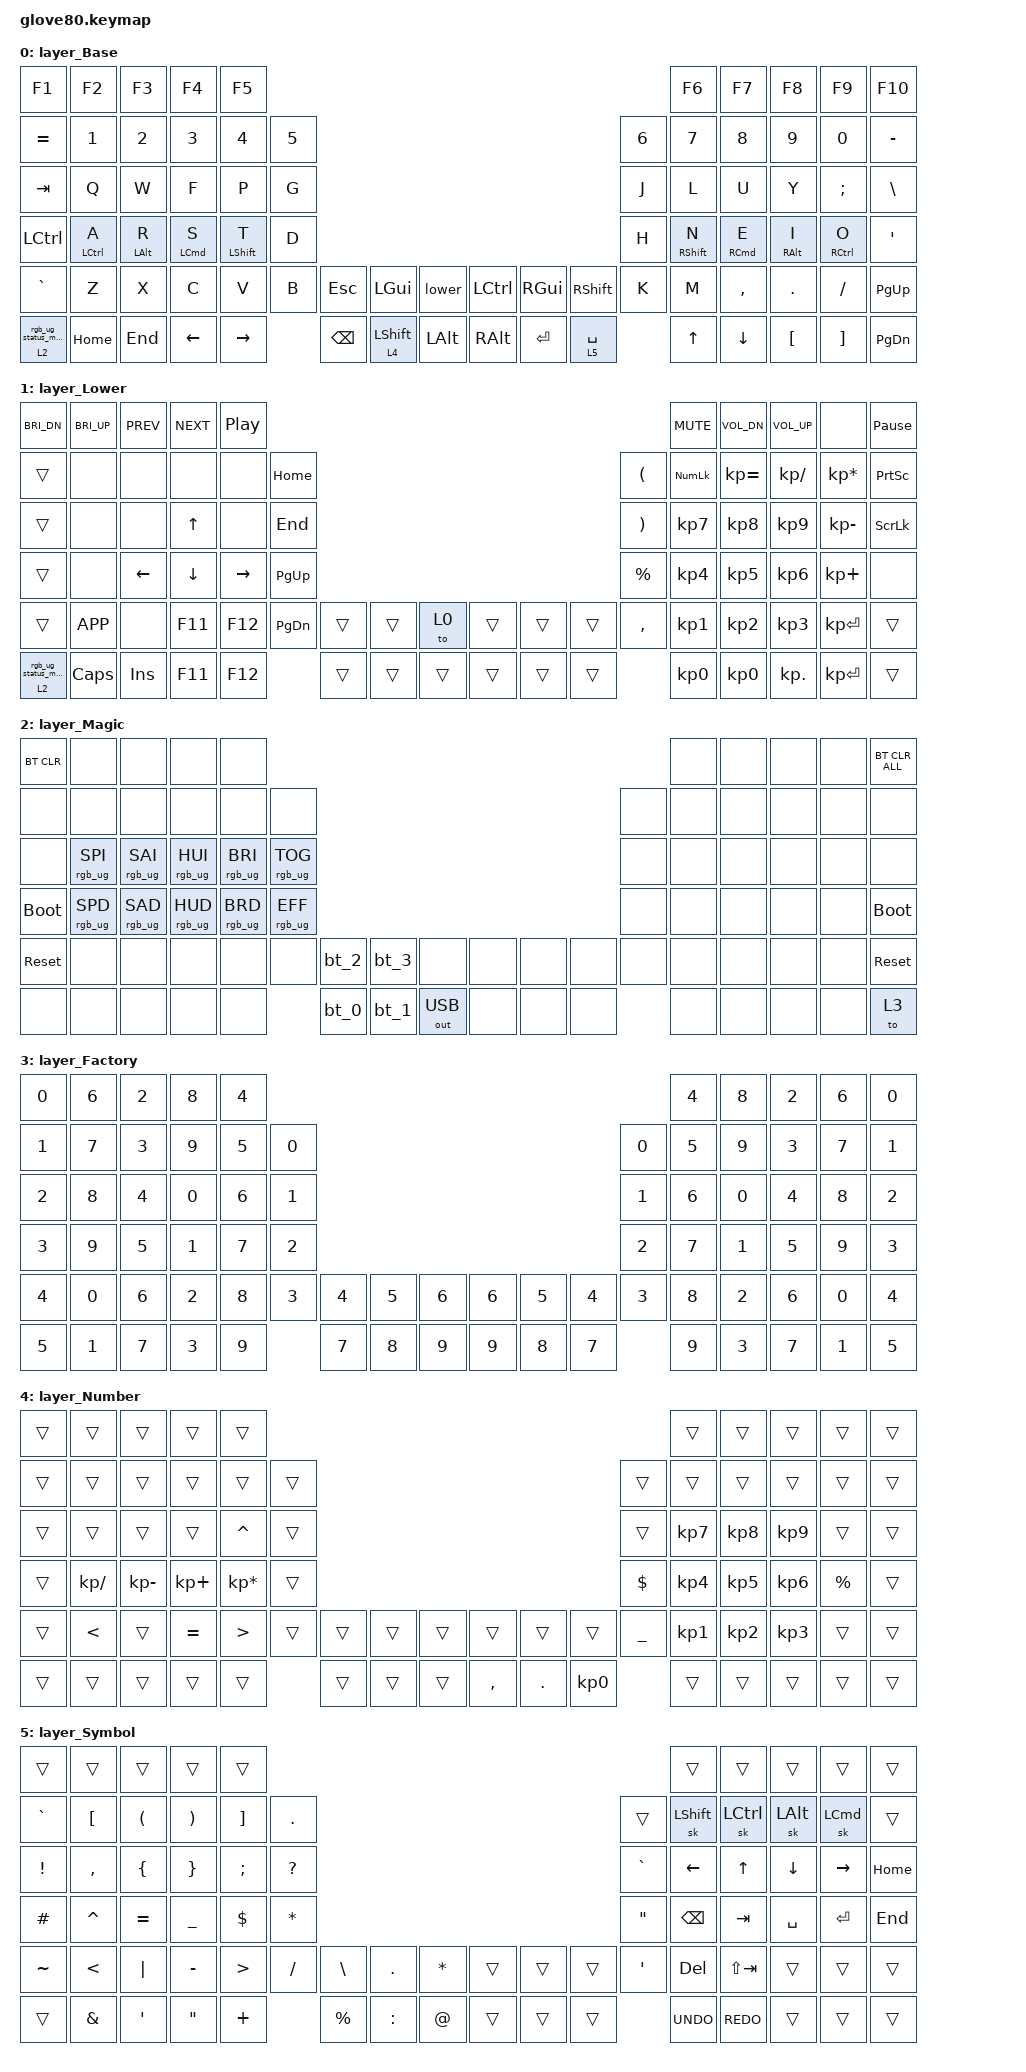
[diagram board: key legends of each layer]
/*
* Copyright (c) 2020 The ZMK Contributors
* Copyright (c) 2025 Innaworks Development Limited, trading as MoErgo
*
* SPDX-License-Identifier: MIT
*/


/* THIS FILE WAS GENERATED BY GLOVE80 LAYOUT EDITOR
*
* This file was generated automatically. You may or may not want to
* edit it directly.
*/

#include <behaviors.dtsi>
/* Include all behavior includes needed */
#include <dt-bindings/zmk/outputs.h>
#include <dt-bindings/zmk/keys.h>
#include <dt-bindings/zmk/bt.h>
#include <dt-bindings/zmk/rgb.h>

/* On demand includes */


/* Helper Macros, based on https://github.com/urob/zmk-helpers/ */

#pragma once

#define ZMK_HELPER_STRINGIFY(x) #x

// Preprocessor mechanism to overload macros, cf. https://stackoverflow.com/a/27051616/6114651
#define VARGS_(_10, _9, _8, _7, _6, _5, _4, _3, _2, _1, N, ...) N
#define VARGS(...) VARGS_(__VA_ARGS__, 10, 9, 8, 7, 6, 5, 4, 3, 2, 1, 0)
#define CONCAT_(a, b) a##b
#define CONCAT(a, b) CONCAT_(a, b)

#define ZMK_BEHAVIOR_CORE_tap_dance  \
compatible = "zmk,behavior-tap-dance"; \
#binding-cells = <0>

#define ZMK_BEHAVIOR(name, type, ...) \
name: name { \
ZMK_BEHAVIOR_CORE_ ## type; \
__VA_ARGS__ \
};

#define ZMK_TAP_DANCE(name, ...) \
ZMK_BEHAVIOR(name, tap_dance, __VA_ARGS__)

#define ZMK_TD_LAYER(name, layer) \
ZMK_TAP_DANCE(name, \
tapping-term-ms = <200>; \
bindings = <&mo layer>, <&to layer>; \
)

/* Automatically generated layer name #define */
#define LAYER_Base 0
#define LAYER_Lower 1
#define LAYER_Magic 2
#define LAYER_Factory 3
#define LAYER_Number 4
#define LAYER_Symbol 5

/* To deal with the situation where there is no Lower layer, to keep &lower happy */
#ifndef LAYER_Lower
#define LAYER_Lower 0
#endif

/* Custom Device-tree */


/* Input Listeners */


/* System behavior and Macros */
/ {

  behaviors {
    ZMK_TD_LAYER(lower, LAYER_Lower)
  };
};

/ {
  macros {
    rgb_ug_status_macro: rgb_ug_status_macro {
      label = "RGB_UG_STATUS";
      compatible = "zmk,behavior-macro";
      #binding-cells = <0>;
      bindings = <&rgb_ug RGB_STATUS>;
    };
  };
};

/ {
  #ifdef BT_DISC_CMD
  behaviors {
    bt_0: bt_0 {
      compatible = "zmk,behavior-tap-dance";
      label = "BT_0";
      #binding-cells = <0>;
      tapping-term-ms = <200>;
      bindings = <&bt_select_0>, <&bt BT_DISC 0>;
    };
    bt_1: bt_1 {
      compatible = "zmk,behavior-tap-dance";
      label = "BT_1";
      #binding-cells = <0>;
      tapping-term-ms = <200>;
      bindings = <&bt_select_1>, <&bt BT_DISC 1>;
    };
    bt_2: bt_2 {
      compatible = "zmk,behavior-tap-dance";
      label = "BT_2";
      #binding-cells = <0>;
      tapping-term-ms = <200>;
      bindings = <&bt_select_2>, <&bt BT_DISC 2>;
    };
    bt_3: bt_3 {
      compatible = "zmk,behavior-tap-dance";
      label = "BT_3";
      #binding-cells = <0>;
      tapping-term-ms = <200>;
      bindings = <&bt_select_3>, <&bt BT_DISC 3>;
    };
  };
  macros {
    bt_select_0: bt_select_0 {
      label = "BT_SELECT_0";
      compatible = "zmk,behavior-macro";
      #binding-cells = <0>;
      bindings = <&out OUT_BLE &bt BT_SEL 0>;
    };
    bt_select_1: bt_select_1 {
      label = "BT_SELECT_1";
      compatible = "zmk,behavior-macro";
      #binding-cells = <0>;
      bindings = <&out OUT_BLE &bt BT_SEL 1>;
    };
    bt_select_2: bt_select_2 {
      label = "BT_SELECT_2";
      compatible = "zmk,behavior-macro";
      #binding-cells = <0>;
      bindings = <&out OUT_BLE &bt BT_SEL 2>;
    };
    bt_select_3: bt_select_3 {
      label = "BT_SELECT_3";
      compatible = "zmk,behavior-macro";
      #binding-cells = <0>;
      bindings = <&out OUT_BLE &bt BT_SEL 3>;
    };
  };
  #else
  macros {
    bt_0: bt_0 {
      label = "BT_0";
      compatible = "zmk,behavior-macro";
      #binding-cells = <0>;
      bindings = <&out OUT_BLE &bt BT_SEL 0>;
    };
    bt_1: bt_1 {
      label = "BT_1";
      compatible = "zmk,behavior-macro";
      #binding-cells = <0>;
      bindings = <&out OUT_BLE &bt BT_SEL 1>;
    };
    bt_2: bt_2 {
      label = "BT_2";
      compatible = "zmk,behavior-macro";
      #binding-cells = <0>;
      bindings = <&out OUT_BLE &bt BT_SEL 2>;
    };
    bt_3: bt_3 {
      label = "BT_3";
      compatible = "zmk,behavior-macro";
      #binding-cells = <0>;
      bindings = <&out OUT_BLE &bt BT_SEL 3>;
    };
  };
  #endif
};

/ {
  behaviors {
    magic: magic {
      compatible = "zmk,behavior-hold-tap";
      label = "MAGIC_HOLD_TAP";
      #binding-cells = <2>;
      flavor = "tap-preferred";
      tapping-term-ms = <200>;
      bindings = <&mo>, <&rgb_ug_status_macro>;
    };
    hml: hml {
      compatible = "zmk,behavior-hold-tap";
      label = "HML";
      bindings = <&kp>, <&kp>;
      #binding-cells = <2>;
      flavor = "balanced";
      tapping-term-ms = <280>;
      quick-tap-ms = <175>;
      require-prior-idle-ms = <150>;
      hold-trigger-on-release;
      hold-trigger-key-positions = <57 56 55 74 73 72 16 28 40 58 5 17 29 41 59 75 6 18 30 42 60 76 7 19 31 43 61 77 8 20 32 44 62 78 9 21 33 45 63 79>;
    };
    hmr: hmr {
      compatible = "zmk,behavior-hold-tap";
      label = "HMR";
      bindings = <&kp>, <&kp>;
      #binding-cells = <2>;
      flavor = "balanced";
      tapping-term-ms = <280>;
      quick-tap-ms = <175>;
      require-prior-idle-ms = <150>;
      hold-trigger-on-release;
      hold-trigger-key-positions = <52 53 54 69 70 71 15 27 39 51 4 14 26 38 50 68 3 13 25 37 49 67 2 12 24 36 48 66 1 11 23 35 47 65 0 10 22 34 46 64>;
    };
  };
};

/* #define for key positions */
#define POS_LH_T1 52
#define POS_LH_T2 53
#define POS_LH_T3 54
#define POS_LH_T4 69
#define POS_LH_T5 70
#define POS_LH_T6 71
#define POS_LH_C1R2 15
#define POS_LH_C1R3 27
#define POS_LH_C1R4 39
#define POS_LH_C1R5 51
#define POS_LH_C2R1 4
#define POS_LH_C2R2 14
#define POS_LH_C2R3 26
#define POS_LH_C2R4 38
#define POS_LH_C2R5 50
#define POS_LH_C2R6 68
#define POS_LH_C3R1 3
#define POS_LH_C3R2 13
#define POS_LH_C3R3 25
#define POS_LH_C3R4 37
#define POS_LH_C3R5 49
#define POS_LH_C3R6 67
#define POS_LH_C4R1 2
#define POS_LH_C4R2 12
#define POS_LH_C4R3 24
#define POS_LH_C4R4 36
#define POS_LH_C4R5 48
#define POS_LH_C4R6 66
#define POS_LH_C5R1 1
#define POS_LH_C5R2 11
#define POS_LH_C5R3 23
#define POS_LH_C5R4 35
#define POS_LH_C5R5 47
#define POS_LH_C5R6 65
#define POS_LH_C6R1 0
#define POS_LH_C6R2 10
#define POS_LH_C6R3 22
#define POS_LH_C6R4 34
#define POS_LH_C6R5 46
#define POS_LH_C6R6 64
#define POS_RH_T1 57
#define POS_RH_T2 56
#define POS_RH_T3 55
#define POS_RH_T4 74
#define POS_RH_T5 73
#define POS_RH_T6 72
#define POS_RH_C1R2 16
#define POS_RH_C1R3 28
#define POS_RH_C1R4 40
#define POS_RH_C1R5 58
#define POS_RH_C2R1 5
#define POS_RH_C2R2 17
#define POS_RH_C2R3 29
#define POS_RH_C2R4 41
#define POS_RH_C2R5 59
#define POS_RH_C2R6 75
#define POS_RH_C3R1 6
#define POS_RH_C3R2 18
#define POS_RH_C3R3 30
#define POS_RH_C3R4 42
#define POS_RH_C3R5 60
#define POS_RH_C3R6 76
#define POS_RH_C4R1 7
#define POS_RH_C4R2 19
#define POS_RH_C4R3 31
#define POS_RH_C4R4 43
#define POS_RH_C4R5 61
#define POS_RH_C4R6 77
#define POS_RH_C5R1 8
#define POS_RH_C5R2 20
#define POS_RH_C5R3 32
#define POS_RH_C5R4 44
#define POS_RH_C5R5 62
#define POS_RH_C5R6 78
#define POS_RH_C6R1 9
#define POS_RH_C6R2 21
#define POS_RH_C6R3 33
#define POS_RH_C6R4 45
#define POS_RH_C6R5 63
#define POS_RH_C6R6 79

/* Custom Defined Behaviors */
/ {

};

/* Automatically generated macro definitions */
/ {
  macros {

  };
};

/* Automatically generated behavior definitions */
/ {
  behaviors {


  };
};

/* Automatically generated combos definitions */


/* Automatically generated keymap */
/ {
  keymap {
    compatible = "zmk,keymap";


    layer_Base {
      bindings = <
//    ┌────────────┬─────────────────────┬─────────────┬─────────────┬─────────────┐                                                                ┌─────────────┬─────────────┬─────────────┬─────────────┬──────┐
//    │     f1     │         f2          │     f3      │     f4      │     f5      │                                                                │     f6      │     f7      │     f8      │     f9      │ f10  │
//    ├────────────┼─────────────────────┼─────────────┼─────────────┼─────────────┼───┐                                                        ┌───┼─────────────┼─────────────┼─────────────┼─────────────┼──────┤
//    │     =      │          1          │      2      │      3      │      4      │ 5 │                                                        │ 6 │      7      │      8      │      9      │      0      │  -   │
//    ├────────────┼─────────────────────┼─────────────┼─────────────┼─────────────┼───┤                                                        ├───┼─────────────┼─────────────┼─────────────┼─────────────┼──────┤
//    │    tab     │          Q          │      W      │      F      │      P      │ G │                                                        │ J │      L      │      U      │      Y      │      ;      │  \   │
//    ├────────────┼─────────────────────┼─────────────┼─────────────┼─────────────┼───┤                                                        ├───┼─────────────┼─────────────┼─────────────┼─────────────┼──────┤
//    │    lctl    │ &hml left_CONTROL A │ &hml lalt R │ &hml lgui S │ &hml lsft T │ D │                                                        │ H │ &hmr rsft N │ &hmr rgui E │ &hmr ralt I │ &hmr rctl O │  '   │
//    ├────────────┼─────────────────────┼─────────────┼─────────────┼─────────────┼───┼──────┬───────────┬────────┐   ┌──────┬──────┬──────────┼───┼─────────────┼─────────────┼─────────────┼─────────────┼──────┤
//    │     `      │          Z          │      X      │      C      │      V      │ B │ esc  │   lgui    │ &lower │   │ lctl │ rgui │   rsft   │ K │      M      │      ,      │      .      │      /      │ pgup │
//    ├────────────┼─────────────────────┼─────────────┼─────────────┼─────────────┼───┼──────┼───────────┼────────┤   ├──────┼──────┼──────────┼───┼─────────────┼─────────────┼─────────────┼─────────────┼──────┤
//    │ &magic 2 0 │        home         │     end     │    left     │    rght     │   │ bspc │ lt 4 lsft │  lalt  │   │ ralt │ ent  │ lt 5 spc │   │     up      │    down     │      [      │      ]      │ pgdn │
//    └────────────┴─────────────────────┴─────────────┴─────────────┴─────────────┘   └──────┴───────────┴────────┘   └──────┴──────┴──────────┘   └─────────────┴─────────────┴─────────────┴─────────────┴──────┘
  &kp F1       &kp F2                &kp F3            &kp F4        &kp F5                                                                                                          &kp F6         &kp F7        &kp F8        &kp F9         &kp F10
  &kp EQUAL    &kp N1                &kp N2            &kp N3        &kp N4         &kp N5                                                                                  &kp N6   &kp N7         &kp N8        &kp N9        &kp N0         &kp MINUS
  &kp TAB      &kp Q                 &kp W             &kp F         &kp P          &kp G                                                                                   &kp J    &kp L          &kp U         &kp Y         &kp SEMI       &kp BSLH
  &kp LCTRL    &hml LEFT_CONTROL A   &hml LEFT_ALT R   &hml LCMD S   &hml LSHFT T   &kp D                                                                                   &kp H    &hmr RSHFT N   &hmr RCMD E   &hmr RALT I   &hmr RCTRL O   &kp SQT
  &kp GRAVE    &kp Z                 &kp X             &kp C         &kp V          &kp B    &kp ESCAPE   &kp LGUI      &lower         &kp LCTRL   &kp RGUI   &kp RSHFT     &kp K    &kp M          &kp COMMA     &kp DOT       &kp FSLH       &kp PG_UP
  &magic 2 0   &kp HOME              &kp END           &kp LEFT      &kp RIGHT               &kp BSPC     &lt 4 LSHFT   &kp LALT       &kp RALT    &kp RET    &lt 5 SPACE            &kp UP         &kp DOWN      &kp LBKT      &kp RBKT       &kp PG_DN
      >;
    };

    layer_Lower {
      bindings = <
//    ┌────────────┬──────┬──────┬──────┬──────┐                                                   ┌──────┬──────┬──────┬──────┬──────┐
//    │    bri-    │ bri+ │ prev │ next │ play │                                                   │ mute │ vold │ volu │      │ paus │
//    ├────────────┼──────┼──────┼──────┼──────┼──────┐                                        ┌───┼──────┼──────┼──────┼──────┼──────┤
//    │            │      │      │      │      │ home │                                        │ ( │ nlck │ kp_= │ kp_/ │ kp_* │ pscr │
//    ├────────────┼──────┼──────┼──────┼──────┼──────┤                                        ├───┼──────┼──────┼──────┼──────┼──────┤
//    │            │      │      │  up  │      │ end  │                                        │ ) │  7   │  8   │  9   │ kp_- │ slck │
//    ├────────────┼──────┼──────┼──────┼──────┼──────┤                                        ├───┼──────┼──────┼──────┼──────┼──────┤
//    │            │      │ left │ down │ rght │ pgup │                                        │ % │  4   │  5   │  6   │ kp_+ │      │
//    ├────────────┼──────┼──────┼──────┼──────┼──────┼─────┬─────┬──────┐   ┌─────┬─────┬─────┼───┼──────┼──────┼──────┼──────┼──────┤
//    │            │ app  │      │ f11  │ f12  │ pgdn │     │     │ to 0 │   │     │     │     │ , │  1   │  2   │  3   │ ent  │      │
//    ├────────────┼──────┼──────┼──────┼──────┼──────┼─────┼─────┼──────┤   ├─────┼─────┼─────┼───┼──────┼──────┼──────┼──────┼──────┤
//    │ &magic 2 0 │ caps │ ins  │ f11  │ f12  │      │     │     │      │   │     │     │     │   │  0   │  0   │ kp_. │ ent  │      │
//    └────────────┴──────┴──────┴──────┴──────┘      └─────┴─────┴──────┘   └─────┴─────┴─────┘   └──────┴──────┴──────┴──────┴──────┘
  &kp C_BRI_DN   &kp C_BRI_UP   &kp C_PREV       &kp C_NEXT       &kp C_PP                                                                                                        &kp C_MUTE   &kp C_VOL_DN   &kp C_VOL_UP   &none             &kp PAUSE_BREAK
  &trans         &none          &none            &none            &none             &kp HOME                                                              &kp LEFT_PARENTHESIS    &kp KP_NUM   &kp KP_EQUAL   &kp KP_SLASH   &kp KP_MULTIPLY   &kp PRINTSCREEN
  &trans         &none          &none            &kp UP_ARROW     &none             &kp END                                                               &kp RIGHT_PARENTHESIS   &kp KP_N7    &kp KP_N8      &kp KP_N9      &kp KP_MINUS      &kp SCROLLLOCK
  &trans         &none          &kp LEFT_ARROW   &kp DOWN_ARROW   &kp RIGHT_ARROW   &kp PG_UP                                                             &kp PERCENT             &kp KP_N4    &kp KP_N5      &kp KP_N6      &kp KP_PLUS       &none
  &trans         &kp K_APP      &none            &kp F11          &kp F12           &kp PG_DN   &trans   &trans   &to 0        &trans   &trans   &trans   &kp COMMA               &kp KP_N1    &kp KP_N2      &kp KP_N3      &kp KP_ENTER      &trans
  &magic 2 0     &kp CAPS       &kp INS          &kp F11          &kp F12                       &trans   &trans   &trans       &trans   &trans   &trans                           &kp KP_N0    &kp KP_N0      &kp KP_DOT     &kp KP_ENTER      &trans
      >;
    };

    layer_Magic {
      bindings = <
//    ┌────────────┬─────────┬─────────┬─────────┬─────────┐                                                                ┌─────┬─────┬─────┬─────┬────────────┐
//    │   bt_clr   │         │         │         │         │                                                                │     │     │     │     │ bt_clr_ALL │
//    ├────────────┼─────────┼─────────┼─────────┼─────────┼─────────┐                                                ┌─────┼─────┼─────┼─────┼─────┼────────────┤
//    │            │         │         │         │         │         │                                                │     │     │     │     │     │            │
//    ├────────────┼─────────┼─────────┼─────────┼─────────┼─────────┤                                                ├─────┼─────┼─────┼─────┼─────┼────────────┤
//    │            │ ug_ sp+ │ ug_ sa+ │ ug_ hu+ │ ug_ br+ │ ug_ tog │                                                │     │     │     │     │     │            │
//    ├────────────┼─────────┼─────────┼─────────┼─────────┼─────────┤                                                ├─────┼─────┼─────┼─────┼─────┼────────────┤
//    │    boot    │ ug_ sp- │ ug_ sa- │ ug_ hu- │ ug_ br- │ ug_ eff │                                                │     │     │     │     │     │    boot    │
//    ├────────────┼─────────┼─────────┼─────────┼─────────┼─────────┼───────┬───────┬──────────┐   ┌─────┬─────┬─────┼─────┼─────┼─────┼─────┼─────┼────────────┤
//    │ &sys_reset │         │         │         │         │         │ &bt_2 │ &bt_3 │          │   │     │     │     │     │     │     │     │     │ &sys_reset │
//    ├────────────┼─────────┼─────────┼─────────┼─────────┼─────────┼───────┼───────┼──────────┤   ├─────┼─────┼─────┼─────┼─────┼─────┼─────┼─────┼────────────┤
//    │            │         │         │         │         │         │ &bt_0 │ &bt_1 │ out_ usb │   │     │     │     │     │     │     │     │     │    to 3    │
//    └────────────┴─────────┴─────────┴─────────┴─────────┘         └───────┴───────┴──────────┘   └─────┴─────┴─────┘     └─────┴─────┴─────┴─────┴────────────┘
  &bt BT_CLR    &none             &none             &none             &none                                                                                                  &none   &none   &none   &none   &bt BT_CLR_ALL
  &none         &none             &none             &none             &none             &none                                                                        &none   &none   &none   &none   &none   &none
  &none         &rgb_ug RGB_SPI   &rgb_ug RGB_SAI   &rgb_ug RGB_HUI   &rgb_ug RGB_BRI   &rgb_ug RGB_TOG                                                              &none   &none   &none   &none   &none   &none
  &bootloader   &rgb_ug RGB_SPD   &rgb_ug RGB_SAD   &rgb_ug RGB_HUD   &rgb_ug RGB_BRD   &rgb_ug RGB_EFF                                                              &none   &none   &none   &none   &none   &bootloader
  &sys_reset    &none             &none             &none             &none             &none             &bt_2   &bt_3   &none              &none   &none   &none   &none   &none   &none   &none   &none   &sys_reset
  &none         &none             &none             &none             &none                               &bt_0   &bt_1   &out OUT_USB       &none   &none   &none           &none   &none   &none   &none   &to 3
      >;
    };

    layer_Factory {
      bindings = <
//    ┌───┬───┬───┬───┬───┐                                   ┌───┬───┬───┬───┬───┐
//    │ 0 │ 6 │ 2 │ 8 │ 4 │                                   │ 4 │ 8 │ 2 │ 6 │ 0 │
//    ├───┼───┼───┼───┼───┼───┐                           ┌───┼───┼───┼───┼───┼───┤
//    │ 1 │ 7 │ 3 │ 9 │ 5 │ 0 │                           │ 0 │ 5 │ 9 │ 3 │ 7 │ 1 │
//    ├───┼───┼───┼───┼───┼───┤                           ├───┼───┼───┼───┼───┼───┤
//    │ 2 │ 8 │ 4 │ 0 │ 6 │ 1 │                           │ 1 │ 6 │ 0 │ 4 │ 8 │ 2 │
//    ├───┼───┼───┼───┼───┼───┤                           ├───┼───┼───┼───┼───┼───┤
//    │ 3 │ 9 │ 5 │ 1 │ 7 │ 2 │                           │ 2 │ 7 │ 1 │ 5 │ 9 │ 3 │
//    ├───┼───┼───┼───┼───┼───┼───┬───┬───┐   ┌───┬───┬───┼───┼───┼───┼───┼───┼───┤
//    │ 4 │ 0 │ 6 │ 2 │ 8 │ 3 │ 4 │ 5 │ 6 │   │ 6 │ 5 │ 4 │ 3 │ 8 │ 2 │ 6 │ 0 │ 4 │
//    ├───┼───┼───┼───┼───┼───┼───┼───┼───┤   ├───┼───┼───┼───┼───┼───┼───┼───┼───┤
//    │ 5 │ 1 │ 7 │ 3 │ 9 │   │ 7 │ 8 │ 9 │   │ 9 │ 8 │ 7 │   │ 9 │ 3 │ 7 │ 1 │ 5 │
//    └───┴───┴───┴───┴───┘   └───┴───┴───┘   └───┴───┴───┘   └───┴───┴───┴───┴───┘
  &kp NUMBER_0   &kp NUMBER_6   &kp NUMBER_2   &kp NUMBER_8   &kp NUMBER_4                                                                                                                               &kp NUMBER_4   &kp NUMBER_8   &kp NUMBER_2   &kp NUMBER_6   &kp NUMBER_0
  &kp NUMBER_1   &kp NUMBER_7   &kp NUMBER_3   &kp NUMBER_9   &kp NUMBER_5   &kp NUMBER_0                                                                                                 &kp NUMBER_0   &kp NUMBER_5   &kp NUMBER_9   &kp NUMBER_3   &kp NUMBER_7   &kp NUMBER_1
  &kp NUMBER_2   &kp NUMBER_8   &kp NUMBER_4   &kp NUMBER_0   &kp NUMBER_6   &kp NUMBER_1                                                                                                 &kp NUMBER_1   &kp NUMBER_6   &kp NUMBER_0   &kp NUMBER_4   &kp NUMBER_8   &kp NUMBER_2
  &kp NUMBER_3   &kp NUMBER_9   &kp NUMBER_5   &kp NUMBER_1   &kp NUMBER_7   &kp NUMBER_2                                                                                                 &kp NUMBER_2   &kp NUMBER_7   &kp NUMBER_1   &kp NUMBER_5   &kp NUMBER_9   &kp NUMBER_3
  &kp NUMBER_4   &kp NUMBER_0   &kp NUMBER_6   &kp NUMBER_2   &kp NUMBER_8   &kp NUMBER_3   &kp NUMBER_4   &kp NUMBER_5   &kp NUMBER_6       &kp NUMBER_6   &kp NUMBER_5   &kp NUMBER_4   &kp NUMBER_3   &kp NUMBER_8   &kp NUMBER_2   &kp NUMBER_6   &kp NUMBER_0   &kp NUMBER_4
  &kp NUMBER_5   &kp NUMBER_1   &kp NUMBER_7   &kp NUMBER_3   &kp NUMBER_9                  &kp NUMBER_7   &kp NUMBER_8   &kp NUMBER_9       &kp NUMBER_9   &kp NUMBER_8   &kp NUMBER_7                  &kp NUMBER_9   &kp NUMBER_3   &kp NUMBER_7   &kp NUMBER_1   &kp NUMBER_5
      >;
    };

    layer_Number {
      bindings = <
//    ┌─────┬──────┬──────┬──────┬──────┐                                                   ┌─────┬─────┬─────┬─────┬─────┐
//    │     │      │      │      │      │                                                   │     │     │     │     │     │
//    ├─────┼──────┼──────┼──────┼──────┼─────┐                                       ┌─────┼─────┼─────┼─────┼─────┼─────┤
//    │     │      │      │      │      │     │                                       │     │     │     │     │     │     │
//    ├─────┼──────┼──────┼──────┼──────┼─────┤                                       ├─────┼─────┼─────┼─────┼─────┼─────┤
//    │     │      │      │      │  ^   │     │                                       │     │  7  │  8  │  9  │     │     │
//    ├─────┼──────┼──────┼──────┼──────┼─────┤                                       ├─────┼─────┼─────┼─────┼─────┼─────┤
//    │     │ kp_/ │ kp_- │ kp_+ │ kp_* │     │                                       │  $  │  4  │  5  │  6  │  %  │     │
//    ├─────┼──────┼──────┼──────┼──────┼─────┼─────┬─────┬─────┐   ┌─────┬─────┬─────┼─────┼─────┼─────┼─────┼─────┼─────┤
//    │     │  <   │      │  =   │  >   │     │     │     │     │   │     │     │     │  _  │  1  │  2  │  3  │     │     │
//    ├─────┼──────┼──────┼──────┼──────┼─────┼─────┼─────┼─────┤   ├─────┼─────┼─────┼─────┼─────┼─────┼─────┼─────┼─────┤
//    │     │      │      │      │      │     │     │     │     │   │  ,  │  .  │  0  │     │     │     │     │     │     │
//    └─────┴──────┴──────┴──────┴──────┘     └─────┴─────┴─────┘   └─────┴─────┴─────┘     └─────┴─────┴─────┴─────┴─────┘
  &trans   &trans         &trans         &trans        &trans                                                                                                  &trans      &trans      &trans      &trans      &trans
  &trans   &trans         &trans         &trans        &trans            &trans                                                                    &trans      &trans      &trans      &trans      &trans      &trans
  &trans   &trans         &trans         &trans        &kp CARET         &trans                                                                    &trans      &kp KP_N7   &kp KP_N8   &kp KP_N9   &trans      &trans
  &trans   &kp KP_SLASH   &kp KP_MINUS   &kp KP_PLUS   &kp KP_MULTIPLY   &trans                                                                    &kp DLLR    &kp KP_N4   &kp KP_N5   &kp KP_N6   &kp PRCNT   &trans
  &trans   &kp LT         &trans         &kp EQUAL     &kp GT            &trans   &trans   &trans   &trans       &trans      &trans    &trans      &kp UNDER   &kp KP_N1   &kp KP_N2   &kp KP_N3   &trans      &trans
  &trans   &trans         &trans         &trans        &trans                     &trans   &trans   &trans       &kp COMMA   &kp DOT   &kp KP_N0               &trans      &trans      &trans      &trans      &trans
      >;
    };

    layer_Symbol {
      bindings = <
//    ┌─────┬─────┬─────┬─────┬─────┐                                           ┌──────────┬───────────┬──────────┬──────────┬──────┐
//    │     │     │     │     │     │                                           │          │           │          │          │      │
//    ├─────┼─────┼─────┼─────┼─────┼───┐                                 ┌─────┼──────────┼───────────┼──────────┼──────────┼──────┤
//    │  `  │  [  │  (  │  )  │  ]  │ . │                                 │     │ &sk lsft │ &sk lctl  │ &sk lalt │ &sk lgui │      │
//    ├─────┼─────┼─────┼─────┼─────┼───┤                                 ├─────┼──────────┼───────────┼──────────┼──────────┼──────┤
//    │  !  │  ,  │  {  │  }  │  ;  │ ? │                                 │  `  │   left   │    up     │   down   │   rght   │ home │
//    ├─────┼─────┼─────┼─────┼─────┼───┤                                 ├─────┼──────────┼───────────┼──────────┼──────────┼──────┤
//    │  #  │  ^  │  =  │  _  │  $  │ * │                                 │  "  │   bspc   │    tab    │   spc    │   ent    │ end  │
//    ├─────┼─────┼─────┼─────┼─────┼───┼───┬───┬───┐   ┌─────┬─────┬─────┼─────┼──────────┼───────────┼──────────┼──────────┼──────┤
//    │  ~  │  <  │  |  │  -  │  >  │ / │ \ │ . │ * │   │     │     │     │  '  │   del    │ lsft(tab) │          │          │      │
//    ├─────┼─────┼─────┼─────┼─────┼───┼───┼───┼───┤   ├─────┼─────┼─────┼─────┼──────────┼───────────┼──────────┼──────────┼──────┤
//    │     │  &  │  '  │  "  │  +  │   │ % │ : │ @ │   │     │     │     │     │   undo   │   again   │          │          │      │
//    └─────┴─────┴─────┴─────┴─────┘   └───┴───┴───┘   └─────┴─────┴─────┘     └──────────┴───────────┴──────────┴──────────┴──────┘
  &trans      &trans      &trans      &trans      &trans                                                                                               &trans           &trans        &trans         &trans      &trans
  &kp GRAVE   &kp LBKT    &kp LPAR    &kp RPAR    &kp RBKT   &kp DOT                                                                       &trans      &sk LEFT_SHIFT   &sk LCTRL     &sk LEFT_ALT   &sk LCMD    &trans
  &kp EXCL    &kp COMMA   &kp LBRC    &kp RBRC    &kp SEMI   &kp QMARK                                                                     &kp GRAVE   &kp LEFT         &kp UP        &kp DOWN       &kp RIGHT   &kp HOME
  &kp HASH    &kp CARET   &kp EQUAL   &kp UNDER   &kp DLLR   &kp STAR                                                                      &kp DQT     &kp BSPC         &kp TAB       &kp SPACE      &kp RET     &kp END
  &kp TILDE   &kp LT      &kp PIPE    &kp MINUS   &kp GT     &kp FSLH    &kp BSLH    &kp DOT     &kp STAR       &trans   &trans   &trans   &kp SQT     &kp DELETE       &kp LS(TAB)   &trans         &trans      &trans
  &trans      &kp AMPS    &kp SQT     &kp DQT     &kp PLUS               &kp PRCNT   &kp COLON   &kp AT         &trans   &trans   &trans               &kp K_UNDO       &kp K_REDO    &trans         &trans      &trans
      >;
    };

  };
};
